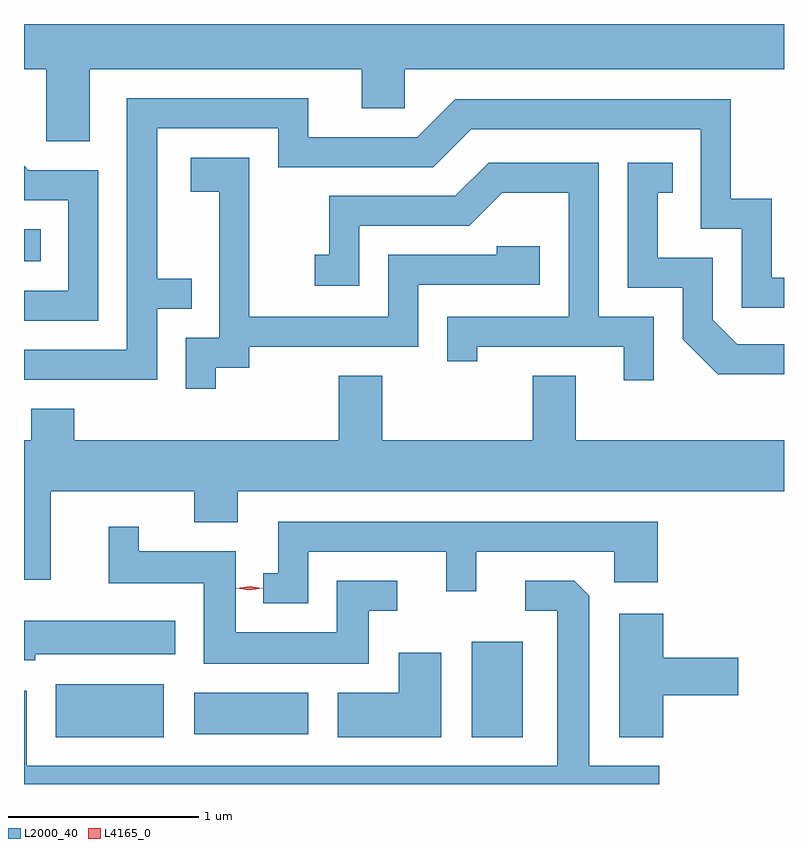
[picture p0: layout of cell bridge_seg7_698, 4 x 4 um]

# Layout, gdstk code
import gdstk
lib = gdstk.Library(unit=1e-6, precision=1e-09)
def R(c, l, rs):  # rectangles x0, y0, x1, y1
    for r in rs: c.add(gdstk.rectangle(r[:2], r[2:], *l))
def P(c, l, *ps):  # polygons
    for p in ps: c.add(gdstk.Polygon(p, *l))
L2000_40 = (2000, 40)
L4165_0 = (4165, 0)

bridge_seg7_698 = lib.new_cell('bridge_seg7_698')
R(bridge_seg7_698, L2000_40, [(409.511,1752.981,410.079,1753.259), (411.701,1752.981,411.969,1753.484), (410.241,1752.996,410.839,1753.214), (409.344,1755.486,409.433,1755.654)])
P(bridge_seg7_698, L2000_40, [(409.689,1756.496),(411.121,1756.496),(411.121,1756.291),(411.349,1756.291),(411.349,1756.496),(413.344,1756.496),(413.344,1756.734),(409.344,1756.734),(409.344,1756.496),(409.461,1756.496),(409.461,1756.116),(409.689,1756.116)],
  [(410.044,1755.236),(410.228,1755.236),(410.228,1755.394),(410.044,1755.394),(410.044,1756.186),(410.681,1756.186),(410.681,1755.981),(411.497,1755.981),(411.697,1756.181),(412.906,1756.181),(412.906,1755.656),(413.121,1755.656),(413.121,1755.241),(413.344,1755.241),(413.344,1755.399),(413.279,1755.399),(413.279,1755.814),(413.064,1755.814),(413.064,1756.339),(411.614,1756.339),(411.414,1756.139),(410.839,1756.139),(410.839,1756.344),(409.886,1756.344),(409.886,1755.019),(409.344,1755.019),(409.344,1754.861),(410.044,1754.861)],
  [(410.354,1754.926),(410.529,1754.926),(410.529,1755.036),(411.419,1755.036),(411.419,1755.361),(412.059,1755.361),(412.059,1755.564),(411.831,1755.564),(411.831,1755.519),(411.261,1755.519),(411.261,1755.194),(410.529,1755.194),(410.529,1756.029),(410.221,1756.029),(410.221,1755.851),(410.371,1755.851),(410.371,1755.084),(410.196,1755.084),(410.196,1754.813),(410.354,1754.813)],
  [(413.344,1755.049),(413.097,1755.049),(412.969,1755.177),(412.969,1755.504),(412.679,1755.504),(412.679,1755.846),(412.758,1755.846),(412.758,1756.004),(412.521,1756.004),(412.521,1755.346),(412.811,1755.346),(412.811,1755.074),(412.994,1754.891),(413.344,1754.891)],
  [(412.659,1755.194),(412.369,1755.194),(412.369,1756.004),(411.789,1756.004),(411.614,1755.829),(410.951,1755.829),(410.951,1755.519),(410.873,1755.519),(410.873,1755.356),(411.109,1755.356),(411.109,1755.671),(411.687,1755.671),(411.862,1755.846),(412.211,1755.846),(412.211,1755.194),(411.571,1755.194),(411.571,1754.958),(411.729,1754.958),(411.729,1755.036),(412.501,1755.036),(412.501,1754.858),(412.659,1754.858)],
  [(409.734,1755.964),(409.367,1755.964),(409.344,1755.987),(409.344,1755.806),(409.576,1755.806),(409.576,1755.329),(409.344,1755.329),(409.344,1755.171),(409.734,1755.171)],
  [(409.484,1754.276),(410.241,1754.276),(410.241,1754.111),(410.469,1754.111),(410.469,1754.276),(413.344,1754.276),(413.344,1754.544),(412.249,1754.544),(412.249,1754.884),(412.021,1754.884),(412.021,1754.544),(411.229,1754.544),(411.229,1754.884),(411.001,1754.884),(411.001,1754.544),(409.609,1754.544),(409.609,1754.709),(409.381,1754.709),(409.381,1754.544),(409.344,1754.544),(409.344,1753.808),(409.484,1753.808)],
  [(410.839,1753.956),(411.566,1753.956),(411.566,1753.748),(411.724,1753.748),(411.724,1753.956),(412.451,1753.956),(412.451,1753.796),(412.679,1753.796),(412.679,1754.114),(410.681,1754.114),(410.681,1753.844),(410.603,1753.844),(410.603,1753.686),(410.839,1753.686)],
  [(411.159,1753.646),(411.308,1753.646),(411.308,1753.804),(410.991,1753.804),(410.991,1753.534),(410.459,1753.534),(410.459,1753.959),(409.949,1753.959),(409.949,1754.088),(409.791,1754.088),(409.791,1753.791),(410.291,1753.791),(410.291,1753.366),(411.159,1753.366)],
  [(412.688,1752.829),(412.319,1752.829),(412.319,1753.724),(412.239,1753.804),(411.983,1753.804),(411.983,1753.646),(412.151,1753.646),(412.151,1752.829),(409.359,1752.829),(409.359,1753.224),(409.344,1753.224),(409.344,1752.734),(412.688,1752.734)],
  [(412.709,1753.201),(413.104,1753.201),(413.104,1753.399),(412.709,1753.399),(412.709,1753.629),(412.476,1753.629),(412.476,1752.981),(412.709,1752.981)],
  [(409.404,1753.416),(410.139,1753.416),(410.139,1753.594),(409.344,1753.594),(409.344,1753.386),(409.404,1753.386)],
  [(411.539,1753.424),(411.316,1753.424),(411.316,1753.214),(410.996,1753.214),(410.996,1752.981),(411.539,1752.981)])
P(bridge_seg7_698, L4165_0, [(410.531,1753.754),(410.462,1753.763),(410.462,1753.764),(410.462,1753.764),(410.531,1753.774),(410.601,1753.765),(410.601,1753.765),(410.601,1753.764)])

lib.write_gds('bridge_seg7_698.gds')
